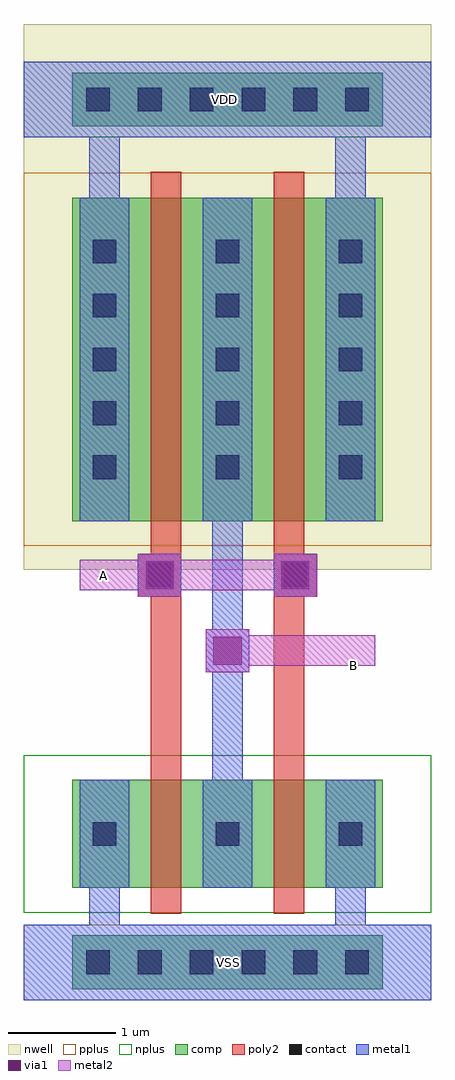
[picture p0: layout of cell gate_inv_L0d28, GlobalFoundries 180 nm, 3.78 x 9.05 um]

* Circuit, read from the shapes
.subckt gate_inv_L0d28 A B VDD VSS
XM1 B A VSS VSS nfet_03v3 w=1u l=0.28u m=2
XM2 B A VDD VDD pfet_03v3 w=3u l=0.28u m=2
.ends

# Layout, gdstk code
import gdstk
lib = gdstk.Library(unit=1e-6, precision=5e-09)
def R(c, l, rs):  # rectangles x0, y0, x1, y1
    for r in rs: c.add(gdstk.rectangle(r[:2], r[2:], *l))
def A(c, l, x, y, w, h, nx, ny, dx, dy):  # array of equal rectangles
    R(c, l, [(x+i*dx, y+j*dy, x+i*dx+w, y+j*dy+h) for i in range(nx) for j in range(ny)])
nwell = (21, 0)
comp = (22, 0)
poly2 = (30, 0)
pplus = (31, 0)
nplus = (32, 0)
contact = (33, 0)
metal1 = (34, 0)
via1 = (35, 0)
metal2 = (36, 0)

via_dev_1 = lib.new_cell('via_dev$1')
R(via_dev_1, poly2, [(0,0,0.4,0.4)])
R(via_dev_1, contact, [(0.09,0.09,0.31,0.31)])
R(via_dev_1, metal1, [(0,0,0.4,0.4)])
R(via_dev_1, via1, [(0.07,0.07,0.33,0.33)])
R(via_dev_1, metal2, [(0,0,0.4,0.4)])

std_nfet_2nf = lib.new_cell('std_nfet_2nf')
R(std_nfet_2nf, comp, [(-1.44,-0.5,1.44,0.5)])
R(std_nfet_2nf, poly2, [(-0.71,-0.74,-0.43,0.74), (0.43,-0.74,0.71,0.74)])
R(std_nfet_2nf, nplus, [(-1.67,-0.73,1.67,0.73)])
A(std_nfet_2nf, contact, -1.25, -0.11, 0.22, 0.22, 3, 1, 1.14, 0)
A(std_nfet_2nf, metal1, -1.37, -0.5, 0.46, 1, 3, 1, 1.14, 0)
A(std_nfet_2nf, metal1, -1.37, -0.23, 0.46, 0.46, 3, 1, 1.14, 0)

std_pfet_2nf = lib.new_cell('std_pfet_2nf')
R(std_pfet_2nf, nwell, [(-1.79,-1.86,1.79,1.86)])
R(std_pfet_2nf, comp, [(-1.44,-1.5,1.44,1.5)])
R(std_pfet_2nf, poly2, [(-0.71,-1.74,-0.43,1.74), (0.43,-1.74,0.71,1.74)])
R(std_pfet_2nf, pplus, [(-1.67,-1.73,1.67,1.73)])
A(std_pfet_2nf, contact, -1.25, -1.11, 0.22, 0.22, 3, 5, 1.14, 0.5)
A(std_pfet_2nf, metal1, -1.37, -1.5, 0.46, 3, 3, 1, 1.14, 0)
A(std_pfet_2nf, metal1, -1.37, -1.23, 0.46, 0.46, 3, 5, 1.14, 0.5)

via_dev = lib.new_cell('via_dev')
R(via_dev, metal1, [(0,0,0.4,0.4)])
R(via_dev, via1, [(0.07,0.07,0.33,0.33)])
R(via_dev, metal2, [(0,0,0.4,0.4)])

std_cell_frame = lib.new_cell('std_cell_frame')
R(std_cell_frame, nwell, [(0,3.99,3.78,9.05)])
R(std_cell_frame, comp, [(0.45,0.1,3.33,0.6), (0.45,8.1,3.33,8.6)])
R(std_cell_frame, pplus, [(0,0,3.78,0.7), (0,4.21,3.78,7.67)])
R(std_cell_frame, nplus, [(0,0.81,3.78,2.27), (0,8,3.78,8.7)])
A(std_cell_frame, contact, 0.58, 0.24, 0.22, 0.22, 6, 2, 0.48, 8)
std_cell_frame.add(gdstk.FlexPath([(0,0.35),(3.78,0.35)], 0.7, ends="flush", simple_path=True, layer=34, datatype=0))  # metal1
std_cell_frame.add(gdstk.FlexPath([(0,8.35),(3.78,8.35)], 0.7, ends="flush", simple_path=True, layer=34, datatype=0))  # metal1

gate_inv_l0d28 = lib.new_cell('gate_inv_L0d28')
gate_inv_l0d28.add(gdstk.FlexPath([(0.3,8.7),(0.3,4.44)], 0.28, ends="flush", simple_path=True, layer=34, datatype=0))  # metal1
gate_inv_l0d28.add(gdstk.FlexPath([(2.58,8.7),(2.58,4.44)], 0.28, ends="flush", simple_path=True, layer=34, datatype=0))  # metal1
gate_inv_l0d28.add(gdstk.FlexPath([(0.3,2.04),(0.3,0)], 0.28, ends="flush", simple_path=True, layer=34, datatype=0))  # metal1
gate_inv_l0d28.add(gdstk.FlexPath([(2.58,2.04),(2.58,0)], 0.28, ends="flush", simple_path=True, layer=34, datatype=0))  # metal1
gate_inv_l0d28.add(gdstk.FlexPath([(1.44,7.44),(1.44,1.04)], 0.28, ends="flush", simple_path=True, layer=34, datatype=0))  # metal1
gate_inv_l0d28.add(gdstk.FlexPath([(1.24,3.24),(2.81,3.24)], 0.28, ends="flush", simple_path=True, layer=36, datatype=0))  # metal2
gate_inv_l0d28.add(gdstk.FlexPath([(0.07,3.94),(2.27,3.94)], 0.28, ends="flush", simple_path=True, layer=36, datatype=0))  # metal2
gate_inv_l0d28.add(gdstk.FlexPath([(0.87,7.67),(0.87,0.8)], 0.28, ends="flush", simple_path=True, layer=30, datatype=0))  # poly2
gate_inv_l0d28.add(gdstk.FlexPath([(2.01,7.67),(2.01,0.8)], 0.28, ends="flush", simple_path=True, layer=30, datatype=0))  # poly2
gate_inv_l0d28.add(gdstk.Reference(via_dev_1, (0.61,3.74)))
gate_inv_l0d28.add(gdstk.Reference(via_dev_1, (1.87,3.74)))
gate_inv_l0d28.add(gdstk.Reference(std_nfet_2nf, (1.44,1.54)))
gate_inv_l0d28.add(gdstk.Reference(std_pfet_2nf, (1.44,5.94)))
gate_inv_l0d28.add(gdstk.Reference(via_dev, (1.24,3.04)))
gate_inv_l0d28.add(gdstk.Reference(std_cell_frame, (-0.45,0)))
gate_inv_l0d28.add(gdstk.Label('B', (2.605,3.1), layer=36, texttype=10))
gate_inv_l0d28.add(gdstk.Label('A', (0.29,3.94), layer=36, texttype=10))
gate_inv_l0d28.add(gdstk.Label('VSS', (1.445,0.35), layer=34, texttype=10))
gate_inv_l0d28.add(gdstk.Label('VDD', (1.41,8.35), layer=34, texttype=10))

lib.write_gds('gate_inv_L0d28.gds')
